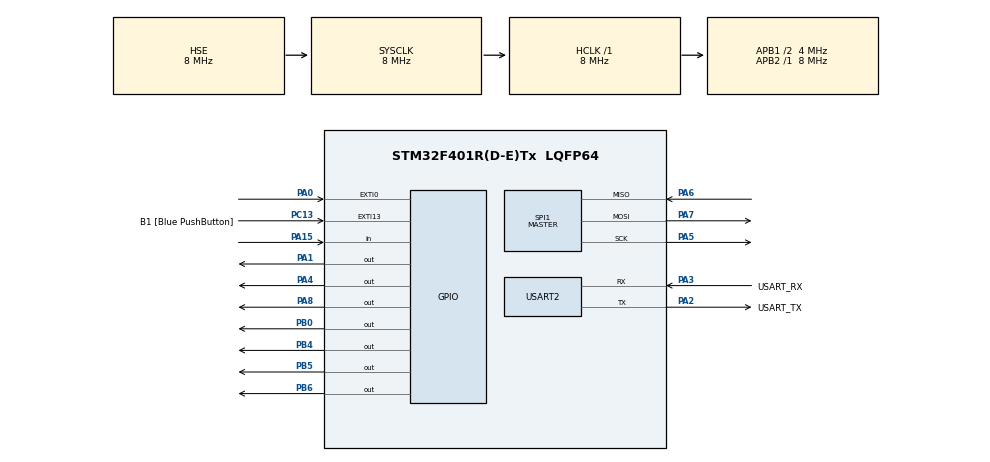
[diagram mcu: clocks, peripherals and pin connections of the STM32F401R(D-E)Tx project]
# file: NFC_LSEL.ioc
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Mcu.Family=STM32F4
Mcu.Name=STM32F401R(D-E)Tx
Mcu.Package=LQFP64
NVIC.EXTI0_IRQn=true\:0\:0\:false\:false\:true\:true\:true
NVIC.EXTI15_10_IRQn=true\:0\:1\:false\:false\:true\:true\:true
NVIC.PriorityGroup=NVIC_PRIORITYGROUP_0
PA0-WKUP.Signal=GPXTI0
PA1.Signal=GPIO_Output
PA13.GPIO_Label=TMS
PA13.Mode=Serial_Wire
PA13.Signal=SYS_JTMS-SWDIO
PA14.GPIO_Label=TCK
PA14.Mode=Serial_Wire
PA14.Signal=SYS_JTCK-SWCLK
PA15.Signal=GPIO_Input
PA2.GPIO_Label=USART_TX
PA2.GPIO_Mode=GPIO_MODE_AF_PP
PA2.GPIO_PuPd=GPIO_NOPULL
PA2.GPIO_Speed=GPIO_SPEED_FREQ_LOW
PA2.Mode=Asynchronous
PA2.Signal=USART2_TX
PA3.GPIO_Label=USART_RX
PA3.GPIO_Mode=GPIO_MODE_AF_PP
PA3.GPIO_PuPd=GPIO_NOPULL
PA3.GPIO_Speed=GPIO_SPEED_FREQ_LOW
PA3.Mode=Asynchronous
PA3.Signal=USART2_RX
PA4.Signal=GPIO_Output
PA5.Mode=Full_Duplex_Master
PA5.Signal=SPI1_SCK
PA6.Mode=Full_Duplex_Master
PA6.Signal=SPI1_MISO
PA7.Mode=Full_Duplex_Master
PA7.Signal=SPI1_MOSI
PA8.Signal=GPIO_Output
PB0.Signal=GPIO_Output
PB3.GPIO_Label=SWO
PB3.Signal=SYS_JTDO-SWO
PB4.Signal=GPIO_Output
PB5.Signal=GPIO_Output
PB6.Signal=GPIO_Output
PC13-ANTI_TAMP.GPIO_Label=B1 [Blue PushButton]
PC13-ANTI_TAMP.GPIO_ModeDefaultEXTI=GPIO_MODE_IT_RISING
PC13-ANTI_TAMP.GPIO_PuPd=GPIO_NOPULL
PC13-ANTI_TAMP.Signal=GPXTI13
PC14-OSC32_IN.Mode=LSE-External-Oscillator
PC14-OSC32_IN.Signal=RCC_OSC32_IN
PC15-OSC32_OUT.Mode=LSE-External-Oscillator
PC15-OSC32_OUT.Signal=RCC_OSC32_OUT
PH0\ -\ OSC_IN.Mode=HSE-External-Clock-Source
PH0\ -\ OSC_IN.Signal=RCC_OSC_IN
PH1\ -\ OSC_OUT.Mode=HSE-External-Clock-Source
PH1\ -\ OSC_OUT.Signal=RCC_OSC_OUT
ProjectManager.HeapSize=0x200
ProjectManager.StackSize=0x400
ProjectManager.TargetToolchain=STM32CubeIDE
RCC.48MHZClocksFreq_Value=14285714.285714285
RCC.AHBFreq_Value=8000000
RCC.APB1CLKDivider=RCC_HCLK_DIV2
RCC.APB1Freq_Value=4000000
RCC.APB1TimFreq_Value=8000000
RCC.APB2Freq_Value=8000000
RCC.APB2TimFreq_Value=8000000
RCC.CortexFreq_Value=8000000
RCC.HCLKFreq_Value=8000000
RCC.HSE_VALUE=8000000
RCC.HSI_VALUE=16000000
RCC.PLLM=8
RCC.PLLN=50
RCC.PLLP=RCC_PLLP_DIV4
RCC.PLLQ=7
RCC.RCC_RTC_Clock_Source=RCC_RTCCLKSOURCE_LSE
RCC.RCC_RTC_Clock_SourceVirtual=RCC_RTCCLKSOURCE_LSE
RCC.SYSCLKFreq_VALUE=8000000
RCC.SYSCLKSource=RCC_SYSCLKSOURCE_HSE
RCC.VCOOutputFreq_Value=100000000
SPI1.BaudRatePrescaler=SPI_BAUDRATEPRESCALER_16
SPI1.CLKPhase=SPI_PHASE_2EDGE
SPI1.Direction=SPI_DIRECTION_2LINES
SPI1.Mode=SPI_MODE_MASTER
SPI1.VirtualType=VM_MASTER
USART2.VirtualMode=VM_ASYNC
board=NUCLEO-F401RE

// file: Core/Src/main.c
/* USER CODE BEGIN Header */
/**
  ******************************************************************************
  * @file           : main.c
  * @brief          : Main program body
  ******************************************************************************
  * @attention
  *
  * <h2><center>&copy; Copyright (c) 2020 STMicroelectronics.
  * All rights reserved.</center></h2>
  *
  * This software component is licensed by ST under BSD 3-Clause license,
  * the "License"; You may not use this file except in compliance with the
  * License. You may obtain a copy of the License at:
  *                        opensource.org/licenses/BSD-3-Clause
  *
  ******************************************************************************
  */
/* USER CODE END Header */

#include "main.h"

/* USER CODE BEGIN Includes */
#include "demo.h"
#include "string.h"
#include "platform.h"
#include "spi.h"
#include "usart.h"
#include "logger.h"
#include "st_errno.h"
#include "rfal_nfc.h"
#include "stdbool.h"
#include "time.h"
#include "OpenDoor.h"
#include "locker.h"
/* USER CODE END Includes */

/* USER CODE BEGIN PD */
#define TIME_DOOR 4000
#define SECONDARY_PERIOD_MS        50     //Time for each execution

/* USER CODE END PD */

SPI_HandleTypeDef hspi1;

UART_HandleTypeDef huart2;

/* USER CODE BEGIN PV */
enum main_fsm {
  WAIT,
  WAIT_RESPONSE,
  OPEN_DOOR,
};

enum alarm_fsm{
	OPEN,
	CLOSE,
	ALARM,
};

/** NFC related variables **/
uint8_t globalCommProtectCnt = 0;
char* nfcid = NULL;

/** Info  **/
static uint32_t ulIdUser = 0;
static uint32_t ulIdDevice = 0;

/** Flags  **/
static uint8_t ucflagCardDetected = 1;
static uint8_t ucflagReady = 1;
static uint8_t ucflagAccess = 0; // 1: Accepted.  0: Denied
static uint8_t ucflagBluetooth = 0;
static uint8_t ucflagAccessAcepted_l = 0; //change to 1 to see what it does when the request is accepted
static uint8_t ucDoorOpenFlag = 0; // door sensor. 1 is open 0 is closed

uint32_t door_time;

/* USER CODE END PV */

void SystemClock_Config(void);
static void MX_GPIO_Init(void);
static void MX_SPI1_Init(void);
static void MX_USART2_UART_Init(void);
/* USER CODE BEGIN PFP */
void delay_until(uint32_t time);
/* Private function prototypes -----------------------------------------------*/

/* USER CODE END PFP */

/* USER CODE BEGIN 0 */
static uint8_t ucCardDetected (fsm_t* this) {

	ucflagAccess = 0;
    ucflagAccessAcepted_l = 0;
	nfcid = demoCycle();
	nfcid = demoCycle();
	if(nfcid != NULL){
		platformLog("NFC card detected %s\r\n", nfcid);
		ucflagCardDetected = 1;
		ucflagReady = 0;
	}

	return ucflagCardDetected;
}

static uint8_t ucAccessAcepted (fsm_t* this) { return ucflagAccess; }

static uint8_t ucAccessDenied (fsm_t* this) { return !ucflagAccess; }

static uint8_t ucReady (fsm_t* this) { return ucflagReady; }

static uint8_t ucAllowed(fsm_t* this) {uint8_t a = ucDoorOpenFlag && ucflagAccess;
; return (a);}

static uint8_t ucNotAllowed(fsm_t* this) { uint8_t a = ucDoorOpenFlag && !ucflagAccess;
return (a);}

static uint8_t ucTimeout(fsm_t* this){ return (HAL_GetTick() - door_time > TIME_DOOR);}

static uint8_t ucIsClose(fsm_t* this){ uint8_t a = !ucDoorOpenFlag;
 return a;}
//Request access
static void vRequestAccess (fsm_t* this)
{

  //Update flags
  ucflagCardDetected = 0;

  //Falta la función de Rafa
  char* tmp = NULL;
  strcpy(tmp,nfcid);
  ucflagBluetooth = 1; //Send a bluetooth access request. Send the ulIdDevice
  if(strcmp(nfcid, tmp)){
	  ucflagAccessAcepted_l = 1;
  }
  //start timeout timer
  //timer_start(TIMEOUT);
  nfcid = NULL; // Reset nfcid value
  if(ucflagAccessAcepted_l) {
    ucflagAccess = 1;
    platformLog("Access accepted\r\n");
	HAL_GPIO_WritePin(LED_A_GPIO_Port, LED_A_Pin,GPIO_PIN_SET); //access accepted
  } else {
	platformLog("Access denied\r\n");
	ucflagReady = 0;
	HAL_GPIO_WritePin(LED_B_GPIO_Port, LED_B_GPIO_Port,GPIO_PIN_SET); //access denied

  }

}

//Update flags
static void vUpdateFlag (fsm_t* this)
{
  ucflagAccess = 0;
}

//Wait till the door is open
static void vOpenDoor (fsm_t* this)
{
  //Update flags

  platformLog("Opening door...\r\n");
  HAL_GPIO_WritePin(LED_F_GPIO_Port, LED_F_Pin,GPIO_PIN_SET); //indicates that the door started to open

}

static void vIsOpened(fsm_t* this)
{

	HAL_GPIO_WritePin(LED_A_GPIO_Port, LED_A_Pin, GPIO_PIN_SET);
	platformLog("La puerta esta abierta. Cierrala.\r\n");
	door_time = HAL_GetTick();

}

static void vIsClosed(fsm_t* this)
{

	HAL_GPIO_WritePin(LED_A_GPIO_Port, LED_A_Pin, GPIO_PIN_RESET);
	platformLog("La puerta esta cerrada\r\n");
	ucflagReady = 1;

}

static void vAlarm(fsm_t* this)
{

	HAL_GPIO_WritePin(LED_B_GPIO_Port, LED_B_Pin, GPIO_PIN_SET);
	platformLog("Alarma sonando con un ruido espantoso...\r\n");

}

static void vNotAlarm(fsm_t* this){

	HAL_GPIO_WritePin(LED_B_GPIO_Port, LED_B_Pin, GPIO_PIN_RESET);
	HAL_GPIO_WritePin(LED_A_GPIO_Port, LED_A_Pin, GPIO_PIN_RESET);
	platformLog("Se apaga la alarma porque se ha cerrado la puerta\r\n");
	ucflagReady = 1;

}

static void vReady(fsm_t* this){
	HAL_GPIO_WritePin(LED_F_GPIO_Port, LED_F_Pin,GPIO_PIN_RESET);
}
// Explicit FSM description

static fsm_trans_t fsm_table1[] = {

  { WAIT,           ucCardDetected,   WAIT_RESPONSE,  vRequestAccess },
  { WAIT_RESPONSE,  ucAccessDenied,   WAIT,           vUpdateFlag },
//  { WAIT_RESPONSE,  TimeoutWait,      WAIT,           vUpdateFlag },  //Verificar como implementamos el timeout
  { WAIT_RESPONSE,  ucAccessAcepted,  OPEN_DOOR,      vOpenDoor },
  { OPEN_DOOR,      ucReady,     WAIT,           vReady },
  {-1, NULL, -1, NULL },

};

static fsm_trans_t fsm_table2[] = {
		{CLOSE, ucAllowed, OPEN, vIsOpened},
		{OPEN, ucIsClose, CLOSE, vIsClosed},
		{OPEN, ucTimeout, ALARM, vAlarm},
		{CLOSE, ucNotAllowed, ALARM, vAlarm},
		{ALARM, ucIsClose, CLOSE, vNotAlarm},
		{-1, NULL, -1, NULL}
};

/* USER CODE END 0 */

int main(void)
{

  /* MCU Configuration--------------------------------------------------------*/

  /* Reset of all peripherals, Initializes the Flash interface and the Systick. */
  HAL_Init();

  /* Configure the system clock */
  SystemClock_Config();

  /* Initialize all configured peripherals */
  MX_GPIO_Init();
  MX_SPI1_Init();
  MX_USART2_UART_Init();
  /* USER CODE BEGIN 2 */

  /* Initialize driver*/
  spiInit(&hspi1);

  /* Initialize log module */
  logUsartInit(&huart2);

  /* Create new fsm */
  fsm_t* main_fsm = fsm_new(fsm_table1);
  fsm_t* alarm_fsm = fsm_new(fsm_table2);

  uint32_t next_execution;
  uint8_t frame = 0;
  /*******************************************************/

  platformLog("************* NFC DEMO *************\r\n");

  /* Initalize RFAL */
  if( !demoIni() )
  {
    /*
    * in case the rfal initalization failed signal it by flashing all LED
    * and stoping all operations
    */
    platformLog("NFC Driver initialization FAIL.\r\n");
    while(1);
  }
  else
  {
    platformLog("NFC Driver initialization OK.\r\n");
    platformLog("*******************************************\r\n");

  }

  /* USER CODE END 2 */

  /* Infinite loop */
  /* USER CODE BEGIN WHILE */
  while (1)
  {

    /* Run Demo Application */
	//nfcid = NULL;
	  /*if((HAL_GetTick() - time_locker) > 100){
		  fsm_fire(main_fsm);
		  time_locker = HAL_GetTick();
	  }
	  if((HAL_GetTick() - time_alarm) > 20){
		  fsm_fire(alarm_fsm);
		  time_alarm = HAL_GetTick();
	  }

	  if( platformGpioIsLow(PLATFORM_USER_BUTTON_PORT, PLATFORM_USER_BUTTON_PIN))
		  ucDoorOpenFlag = 1;
	  else
		  ucDoorOpenFlag = 0;*/

	 next_execution = HAL_GetTick() + SECONDARY_PERIOD_MS ;
	 switch (frame) {
	 case 0:
		  fsm_fire(main_fsm);
		  fsm_fire(alarm_fsm);
		  break;
	 case 1:
		  fsm_fire(alarm_fsm);
		  break;
	 case 2:
		  fsm_fire(alarm_fsm);
		  break;
	 case 3:
		  fsm_fire(alarm_fsm);
		  break;
	 case 4:
		  fsm_fire(alarm_fsm);
		  break;
	 case 5:
		  fsm_fire(alarm_fsm);
		  break;
	  }
	 frame = (frame + 1) % 6;
	 delay_until(next_execution);
	  }

    /* USER CODE END WHILE */

}

void SystemClock_Config(void)
{
  RCC_OscInitTypeDef RCC_OscInitStruct = {0};
  RCC_ClkInitTypeDef RCC_ClkInitStruct = {0};

  /** Configure the main internal regulator output voltage
  */
  __HAL_RCC_PWR_CLK_ENABLE();
  __HAL_PWR_VOLTAGESCALING_CONFIG(PWR_REGULATOR_VOLTAGE_SCALE2);
  /** Initializes the CPU, AHB and APB busses clocks
  */
  RCC_OscInitStruct.OscillatorType = RCC_OSCILLATORTYPE_HSE;
  RCC_OscInitStruct.HSEState = RCC_HSE_BYPASS;
  RCC_OscInitStruct.PLL.PLLState = RCC_PLL_NONE;
  if (HAL_RCC_OscConfig(&RCC_OscInitStruct) != HAL_OK)
  {
    Error_Handler();
  }
  /** Initializes the CPU, AHB and APB busses clocks
  */
  RCC_ClkInitStruct.ClockType = RCC_CLOCKTYPE_HCLK|RCC_CLOCKTYPE_SYSCLK
                              |RCC_CLOCKTYPE_PCLK1|RCC_CLOCKTYPE_PCLK2;
  RCC_ClkInitStruct.SYSCLKSource = RCC_SYSCLKSOURCE_HSE;
  RCC_ClkInitStruct.AHBCLKDivider = RCC_SYSCLK_DIV1;
  RCC_ClkInitStruct.APB1CLKDivider = RCC_HCLK_DIV2;
  RCC_ClkInitStruct.APB2CLKDivider = RCC_HCLK_DIV1;

  if (HAL_RCC_ClockConfig(&RCC_ClkInitStruct, FLASH_LATENCY_0) != HAL_OK)
  {
    Error_Handler();
  }
}

static void MX_SPI1_Init(void)
{

  /* SPI1 parameter configuration*/
  hspi1.Instance = SPI1;
  hspi1.Init.Mode = SPI_MODE_MASTER;
  hspi1.Init.Direction = SPI_DIRECTION_2LINES;
  hspi1.Init.DataSize = SPI_DATASIZE_8BIT;
  hspi1.Init.CLKPolarity = SPI_POLARITY_LOW;
  hspi1.Init.CLKPhase = SPI_PHASE_2EDGE;
  hspi1.Init.NSS = SPI_NSS_SOFT;
  hspi1.Init.BaudRatePrescaler = SPI_BAUDRATEPRESCALER_16;
  hspi1.Init.FirstBit = SPI_FIRSTBIT_MSB;
  hspi1.Init.TIMode = SPI_TIMODE_DISABLE;
  hspi1.Init.CRCCalculation = SPI_CRCCALCULATION_DISABLE;
  hspi1.Init.CRCPolynomial = 10;
  if (HAL_SPI_Init(&hspi1) != HAL_OK)
  {
    Error_Handler();
  }

}

static void MX_USART2_UART_Init(void)
{

  huart2.Instance = USART2;
  huart2.Init.BaudRate = 115200;
  huart2.Init.WordLength = UART_WORDLENGTH_8B;
  huart2.Init.StopBits = UART_STOPBITS_1;
  huart2.Init.Parity = UART_PARITY_NONE;
  huart2.Init.Mode = UART_MODE_TX_RX;
  huart2.Init.HwFlowCtl = UART_HWCONTROL_NONE;
  huart2.Init.OverSampling = UART_OVERSAMPLING_16;
  if (HAL_UART_Init(&huart2) != HAL_OK)
  {
    Error_Handler();
  }

}

static void MX_GPIO_Init(void)
{
  GPIO_InitTypeDef GPIO_InitStruct = {0};

  /* GPIO Ports Clock Enable */
  __HAL_RCC_GPIOC_CLK_ENABLE();
  __HAL_RCC_GPIOH_CLK_ENABLE();
  __HAL_RCC_GPIOA_CLK_ENABLE();
  __HAL_RCC_GPIOB_CLK_ENABLE();

  /*Configure GPIO pin Output Level */
  HAL_GPIO_WritePin(GPIOA, GPIO_PIN_1|GPIO_PIN_4|GPIO_PIN_8, GPIO_PIN_RESET);

  /*Configure GPIO pin Output Level */
  HAL_GPIO_WritePin(GPIOB, GPIO_PIN_0|GPIO_PIN_4|GPIO_PIN_5|GPIO_PIN_6, GPIO_PIN_RESET);

  /*Configure GPIO pin : B1_Pin */
  GPIO_InitStruct.Pin = B1_Pin;
  GPIO_InitStruct.Mode = GPIO_MODE_IT_RISING;
  GPIO_InitStruct.Pull = GPIO_NOPULL;
  HAL_GPIO_Init(B1_GPIO_Port, &GPIO_InitStruct);

  /*Configure GPIO pin : PA0 */
  GPIO_InitStruct.Pin = GPIO_PIN_0;
  GPIO_InitStruct.Mode = GPIO_MODE_IT_RISING;
  GPIO_InitStruct.Pull = GPIO_NOPULL;
  HAL_GPIO_Init(GPIOA, &GPIO_InitStruct);

  /*Configure GPIO pins : PA1 PA4 PA8 */
  GPIO_InitStruct.Pin = GPIO_PIN_1|GPIO_PIN_4|GPIO_PIN_8;
  GPIO_InitStruct.Mode = GPIO_MODE_OUTPUT_PP;
  GPIO_InitStruct.Pull = GPIO_NOPULL;
  GPIO_InitStruct.Speed = GPIO_SPEED_FREQ_LOW;
  HAL_GPIO_Init(GPIOA, &GPIO_InitStruct);

  /*Configure GPIO pins : PB0 PB4 PB5 PB6 */
  GPIO_InitStruct.Pin = GPIO_PIN_0|GPIO_PIN_4|GPIO_PIN_5|GPIO_PIN_6;
  GPIO_InitStruct.Mode = GPIO_MODE_OUTPUT_PP;
  GPIO_InitStruct.Pull = GPIO_NOPULL;
  GPIO_InitStruct.Speed = GPIO_SPEED_FREQ_LOW;
  HAL_GPIO_Init(GPIOB, &GPIO_InitStruct);

  /*Configure GPIO pin : PA15 */
  GPIO_InitStruct.Pin = GPIO_PIN_15;
  GPIO_InitStruct.Mode = GPIO_MODE_INPUT;
  GPIO_InitStruct.Pull = GPIO_NOPULL;
  HAL_GPIO_Init(GPIOA, &GPIO_InitStruct);

  /* EXTI interrupt init*/
  HAL_NVIC_SetPriority(EXTI0_IRQn, 0, 0);
  HAL_NVIC_EnableIRQ(EXTI0_IRQn);

  HAL_NVIC_SetPriority(EXTI15_10_IRQn, 0, 1);
  HAL_NVIC_EnableIRQ(EXTI15_10_IRQn);

}

/* USER CODE BEGIN 4 */
void delay_until(uint32_t time){
    uint32_t currentTime = HAL_GetTick();
    if(currentTime >= time){
        return;
    }
    else{
    	HAL_Delay(time - currentTime);
    }
    return;
}

void HAL_GPIO_EXTI_Callback(uint16_t GPIO_Pin)
{
  /* Prevent unused argument(s) compilation warning */
	if(GPIO_Pin == GPIO_PIN_13){
		static int a;
		if(HAL_GetTick() - a > 100){
		ucDoorOpenFlag = !ucDoorOpenFlag;
	}
	a = HAL_GetTick();
	}

  /* NOTE: This function Should not be modified, when the callback is needed,
           the HAL_GPIO_EXTI_Callback could be implemented in the user file
   */
}
/* USER CODE END 4 */

void Error_Handler(void)
{
  while(1)
  {
  }
}

/************************ (C) COPYRIGHT STMicroelectronics *****END OF FILE****/
